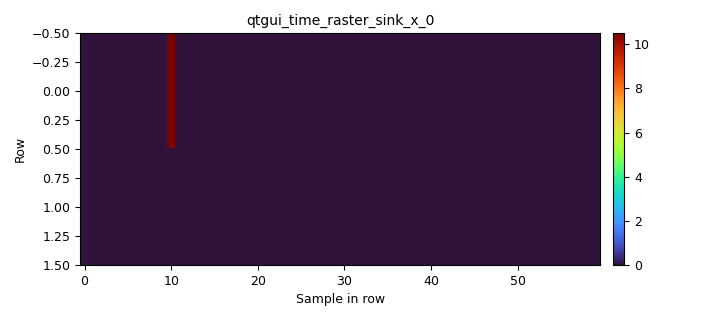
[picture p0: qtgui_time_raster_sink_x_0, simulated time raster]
<?xml version='1.0' encoding='utf-8'?>
<?grc format='1' created='3.7.6'?>
<flow_graph>
<block>
<key>options</key>
<param><key>id</key><value>top_block</value></param>
<param><key>generate_options</key><value>qt_gui</value></param>
<param><key>category</key><value>Custom</value></param>
</block>
<block>
<key>variable</key>
<param><key>id</key><value>samp_rate</value></param>
<param><key>value</key><value>32000</value></param>
</block>
<block>
<key>blocks_throttle</key>
<param><key>id</key><value>blocks_throttle_0</value></param>
<param><key>type</key><value>float</value></param>
<param><key>samples_per_second</key><value>samp_rate</value></param>
</block>
<block>
<key>analog_noise_source_x</key>
<param><key>id</key><value>analog_noise_source_x_0</value></param>
<param><key>type</key><value>float</value></param>
<param><key>noise_type</key><value>analog.GR_IMPULSE</value></param>
<param><key>amp</key><value>1</value></param>
<param><key>seed</key><value>0</value></param>
</block>
<block>
<key>qtgui_time_raster_sink_x</key>
<param><key>id</key><value>qtgui_time_raster_sink_x_0</value></param>
<param><key>type</key><value>float</value></param>
<param><key>samp_rate</key><value>samp_rate</value></param>
<param><key>nrows</key><value>2</value></param>
<param><key>ncols</key><value>60</value></param>
<param><key>grid</key><value>True</value></param>
</block>
<connection><source_block_id>blocks_throttle_0</source_block_id><sink_block_id>qtgui_time_raster_sink_x_0</sink_block_id><source_key>0</source_key><sink_key>0</sink_key></connection>
<connection><source_block_id>analog_noise_source_x_0</source_block_id><sink_block_id>blocks_throttle_0</sink_block_id><source_key>0</source_key><sink_key>0</sink_key></connection>
</flow_graph>
